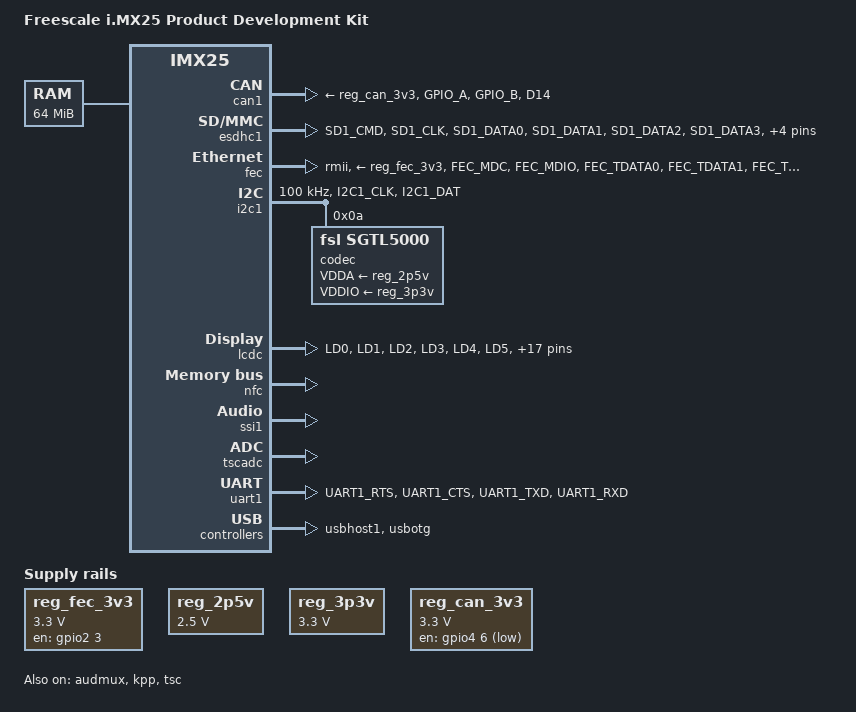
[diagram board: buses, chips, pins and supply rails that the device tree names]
// SPDX-License-Identifier: GPL-2.0+
//
// Copyright 2013 Freescale Semiconductor, Inc.

/dts-v1/;
#include <dt-bindings/gpio/gpio.h>
#include <dt-bindings/input/input.h>
#include "imx25.dtsi"

/ {
	model = "Freescale i.MX25 Product Development Kit";
	compatible = "fsl,imx25-pdk", "fsl,imx25";

	memory@80000000 {
		device_type = "memory";
		reg = <0x80000000 0x4000000>;
	};

	regulators {
		compatible = "simple-bus";
		#address-cells = <1>;
		#size-cells = <0>;

		reg_fec_3v3: regulator@0 {
			compatible = "regulator-fixed";
			reg = <0>;
			regulator-name = "fec-3v3";
			regulator-min-microvolt = <3300000>;
			regulator-max-microvolt = <3300000>;
			gpio = <&gpio2 3 0>;
			enable-active-high;
		};

		reg_2p5v: regulator@1 {
			compatible = "regulator-fixed";
			reg = <1>;
			regulator-name = "2P5V";
			regulator-min-microvolt = <2500000>;
			regulator-max-microvolt = <2500000>;
		};

		reg_3p3v: regulator@2 {
			compatible = "regulator-fixed";
			reg = <2>;
			regulator-name = "3P3V";
			regulator-min-microvolt = <3300000>;
			regulator-max-microvolt = <3300000>;
		};

		reg_can_3v3: regulator@3 {
			compatible = "regulator-fixed";
			reg = <3>;
			regulator-name = "can-3v3";
			regulator-min-microvolt = <3300000>;
			regulator-max-microvolt = <3300000>;
			gpio = <&gpio4 6 0>;
		};
	};

	sound {
		compatible = "fsl,imx25-pdk-sgtl5000",
			     "fsl,imx-audio-sgtl5000";
		model = "imx25-pdk-sgtl5000";
		ssi-controller = <&ssi1>;
		audio-codec = <&codec>;
		audio-routing =
			"MIC_IN", "Mic Jack",
			"Mic Jack", "Mic Bias",
			"Headphone Jack", "HP_OUT";
		mux-int-port = <1>;
		mux-ext-port = <4>;
	};

	wvga: display {
		model = "CLAA057VC01CW";
		bits-per-pixel = <16>;
		fsl,pcr = <0xfa208b80>;
		bus-width = <18>;
		display-timings {
			native-mode = <&wvga_timings>;
			wvga_timings: timing0 {
				hactive = <640>;
				vactive = <480>;
				hback-porch = <45>;
				hfront-porch = <114>;
				hsync-len = <1>;
				vback-porch = <33>;
				vfront-porch = <11>;
				vsync-len = <1>;
				clock-frequency = <25200000>;
			};
		};
	};
};

&audmux {
	pinctrl-names = "default";
	pinctrl-0 = <&pinctrl_audmux>;
	status = "okay";
};

&can1 {
	pinctrl-names = "default";
	pinctrl-0 = <&pinctrl_can1>;
	xceiver-supply = <&reg_can_3v3>;
	status = "okay";
};

&esdhc1 {
	pinctrl-names = "default";
	pinctrl-0 = <&pinctrl_esdhc1>;
	cd-gpios = <&gpio2 1 GPIO_ACTIVE_LOW>;
	wp-gpios = <&gpio2 0 GPIO_ACTIVE_HIGH>;
	status = "okay";
};

&fec {
	phy-mode = "rmii";
	pinctrl-names = "default";
	pinctrl-0 = <&pinctrl_fec>;
	phy-supply = <&reg_fec_3v3>;
	phy-reset-gpios = <&gpio4 8 GPIO_ACTIVE_LOW>;
	status = "okay";
};

&i2c1 {
	clock-frequency = <100000>;
	pinctrl-names = "default";
	pinctrl-0 = <&pinctrl_i2c1>;
	status = "okay";

	codec: sgtl5000@a {
		compatible = "fsl,sgtl5000";
		reg = <0x0a>;
		clocks = <&clks 129>;
		VDDA-supply = <&reg_2p5v>;
		VDDIO-supply = <&reg_3p3v>;
	};
};

&iomuxc {
	imx25-pdk {
		pinctrl_audmux: audmuxgrp {
			fsl,pins = <
				MX25_PAD_RW__AUD4_TXFS			0xe0
				MX25_PAD_OE__AUD4_TXC			0xe0
				MX25_PAD_EB0__AUD4_TXD			0xe0
				MX25_PAD_EB1__AUD4_RXD			0xe0
			>;
		};

		pinctrl_can1: can1grp {
			fsl,pins = <
				MX25_PAD_GPIO_A__CAN1_TX		0x0
				MX25_PAD_GPIO_B__CAN1_RX		0x0
				MX25_PAD_D14__GPIO_4_6 			0x80000000
			>;
		};

		pinctrl_esdhc1: esdhc1grp {
			fsl,pins = <
				MX25_PAD_SD1_CMD__ESDHC1_CMD		0x80000000
				MX25_PAD_SD1_CLK__ESDHC1_CLK		0x80000000
				MX25_PAD_SD1_DATA0__ESDHC1_DAT0		0x80000000
				MX25_PAD_SD1_DATA1__ESDHC1_DAT1		0x80000000
				MX25_PAD_SD1_DATA2__ESDHC1_DAT2		0x80000000
				MX25_PAD_SD1_DATA3__ESDHC1_DAT3		0x80000000
				MX25_PAD_A14__GPIO_2_0			0x80000000
				MX25_PAD_A15__GPIO_2_1			0x80000000
			>;
		};

		pinctrl_fec: fecgrp {
			fsl,pins = <
				MX25_PAD_FEC_MDC__FEC_MDC		0x80000000
				MX25_PAD_FEC_MDIO__FEC_MDIO		0x400001e0
				MX25_PAD_FEC_TDATA0__FEC_TDATA0		0x80000000
				MX25_PAD_FEC_TDATA1__FEC_TDATA1		0x80000000
				MX25_PAD_FEC_TX_EN__FEC_TX_EN		0x80000000
				MX25_PAD_FEC_RDATA0__FEC_RDATA0		0x80000000
				MX25_PAD_FEC_RDATA1__FEC_RDATA1		0x80000000
				MX25_PAD_FEC_RX_DV__FEC_RX_DV		0x80000000
				MX25_PAD_FEC_TX_CLK__FEC_TX_CLK		0x1c0
				MX25_PAD_A17__GPIO_2_3			0x80000000
				MX25_PAD_D12__GPIO_4_8			0x80000000
			>;
		};

		pinctrl_i2c1: i2c1grp {
			fsl,pins = <
				MX25_PAD_I2C1_CLK__I2C1_CLK		0x80000000
				MX25_PAD_I2C1_DAT__I2C1_DAT		0x80000000
			>;
		};

		pinctrl_kpp: kppgrp {
			fsl,pins = <
				MX25_PAD_KPP_ROW0__KPP_ROW0	0x80000000
				MX25_PAD_KPP_ROW1__KPP_ROW1	0x80000000
				MX25_PAD_KPP_ROW2__KPP_ROW2	0x80000000
				MX25_PAD_KPP_ROW3__KPP_ROW3	0x80000000
				MX25_PAD_KPP_COL0__KPP_COL0	0x80000000
				MX25_PAD_KPP_COL1__KPP_COL1	0x80000000
				MX25_PAD_KPP_COL2__KPP_COL2	0x80000000
				MX25_PAD_KPP_COL3__KPP_COL3	0x80000000
			>;
		};

		pinctrl_lcd: lcdgrp {
			fsl,pins = <
				MX25_PAD_LD0__LD0		0xe0
				MX25_PAD_LD1__LD1		0xe0
				MX25_PAD_LD2__LD2		0xe0
				MX25_PAD_LD3__LD3		0xe0
				MX25_PAD_LD4__LD4		0xe0
				MX25_PAD_LD5__LD5		0xe0
				MX25_PAD_LD6__LD6		0xe0
				MX25_PAD_LD7__LD7		0xe0
				MX25_PAD_LD8__LD8		0xe0
				MX25_PAD_LD9__LD9		0xe0
				MX25_PAD_LD10__LD10		0xe0
				MX25_PAD_LD11__LD11		0xe0
				MX25_PAD_LD12__LD12		0xe0
				MX25_PAD_LD13__LD13		0xe0
				MX25_PAD_LD14__LD14		0xe0
				MX25_PAD_LD15__LD15		0xe0
				MX25_PAD_GPIO_E__LD16		0xe0
				MX25_PAD_GPIO_F__LD17		0xe0
				MX25_PAD_HSYNC__HSYNC		0xe0
				MX25_PAD_VSYNC__VSYNC		0xe0
				MX25_PAD_LSCLK__LSCLK		0xe0
				MX25_PAD_OE_ACD__OE_ACD		0xe0
				MX25_PAD_CONTRAST__CONTRAST	0xe0
			>;
		};

		pinctrl_uart1: uart1grp {
			fsl,pins = <
				MX25_PAD_UART1_RTS__UART1_RTS		0xe0
				MX25_PAD_UART1_CTS__UART1_CTS		0xe0
				MX25_PAD_UART1_TXD__UART1_TXD		0x80000000
				MX25_PAD_UART1_RXD__UART1_RXD		0xc0
			>;
		};
	};
};

&lcdc {
	display = <&wvga>;
	fsl,lpccr = <0x00a903ff>;
	fsl,lscr1 = <0x00120300>;
	fsl,dmacr = <0x00020010>;
	pinctrl-names = "default";
	pinctrl-0 = <&pinctrl_lcd>;
	status = "okay";
};

&nfc {
	nand-on-flash-bbt;
	status = "okay";
};

&kpp {
	pinctrl-names = "default";
	pinctrl-0 = <&pinctrl_kpp>;
	linux,keymap = <
			MATRIX_KEY(0x0, 0x0, KEY_UP)
			MATRIX_KEY(0x0, 0x1, KEY_DOWN)
			MATRIX_KEY(0x0, 0x2, KEY_VOLUMEDOWN)
			MATRIX_KEY(0x0, 0x3, KEY_HOME)
			MATRIX_KEY(0x1, 0x0, KEY_RIGHT)
			MATRIX_KEY(0x1, 0x1, KEY_LEFT)
			MATRIX_KEY(0x1, 0x2, KEY_ENTER)
			MATRIX_KEY(0x1, 0x3, KEY_VOLUMEUP)
			MATRIX_KEY(0x2, 0x0, KEY_F6)
			MATRIX_KEY(0x2, 0x1, KEY_F8)
			MATRIX_KEY(0x2, 0x2, KEY_F9)
			MATRIX_KEY(0x2, 0x3, KEY_F10)
			MATRIX_KEY(0x3, 0x0, KEY_F1)
			MATRIX_KEY(0x3, 0x1, KEY_F2)
			MATRIX_KEY(0x3, 0x2, KEY_F3)
			MATRIX_KEY(0x3, 0x2, KEY_POWER)
	>;
	status = "okay";
};

&ssi1 {
	status = "okay";
};

&tsc {
	status = "okay";
};

&tscadc {
	status = "okay";
};

&uart1 {
	pinctrl-names = "default";
	pinctrl-0 = <&pinctrl_uart1>;
	uart-has-rtscts;
	status = "okay";
};

&usbhost1 {
	status = "okay";
};

&usbotg {
	external-vbus-divider;
	status = "okay";
};
